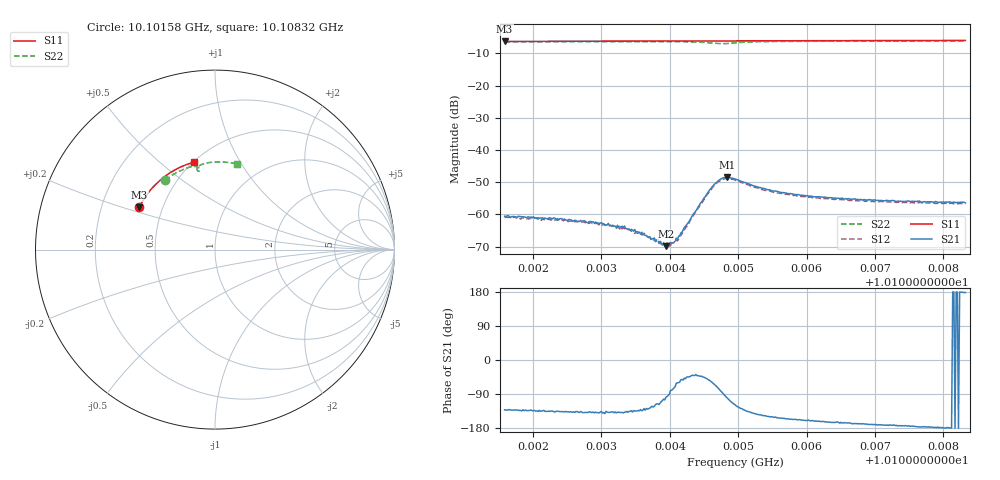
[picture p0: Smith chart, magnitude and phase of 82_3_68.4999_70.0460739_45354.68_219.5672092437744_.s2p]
#  HZ  S  RI  R  50.00
! Rohde & Schwarz Vector Network Analyzer
! Rohde-Schwarz,ZNB20-2Port,1311601062101988,3.16
! Created: UTC 3/20/2024, 5:07:21 PM
! freq[Hz]  re:S11  im:S11  re:S21  im:S21  re:S12  im:S12  re:S22  im:S22
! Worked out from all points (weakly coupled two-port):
!   401 points, 10.10158 GHz to 10.10832 GHz, reference 50 ohm
!   highest |S21| = -48.48 dB at 10.10483 GHz (marker M1); lowest = -69.8 dB at 10.10394 GHz (marker M2)
!   lowest |S11| = -6.3 dB at 10.10158 GHz (marker M3), VSWR 2.87, Z = 18.4 + j11.3 ohm
!   |S11| at or under -10 dB: nowhere
!   |S22| runs from -7.0 to -6.1 dB; largest |S21 - S12| = 0.0004
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1.0101584e10  -0.4224 0.2355  -0.000622 -0.000701  -0.000541 -0.000718  -0.2775 0.3867
1.0102055e10  -0.409 0.2609  -0.0006 -0.000618  -0.000569 -0.000669  -0.2526 0.405
1.0102712e10  -0.3877 0.2948  -0.00058 -0.00053  -0.000532 -0.000553  -0.216 0.4277
1.0103352e10  -0.3645 0.3261  -0.000449 -0.00041  -0.000387 -0.000444  -0.1777 0.4464
1.0103487e10  -0.3594 0.3323  -0.000414 -0.000413  -0.000319 -0.000396  -0.1691 0.4501
1.0103639e10  -0.3534 0.3393  -0.000321 -0.000351  -0.000286 -0.000394  -0.1592 0.4536
1.0103841e10  -0.3451 0.3484  -0.000164 -0.000314  -0.00013 -0.000363  -0.1453 0.4581
1.0103908e10  -0.3423 0.3514  -8.46e-05 -0.000357  -4.56e-05 -0.000331  -0.1403 0.4594
1.0103942e10  -0.3409 0.3529  -4.63e-05 -0.000319  -1.87e-05 -0.000349  -0.138 0.46
1.0104026e10  -0.3374 0.3565  6.28e-05 -0.000355  9.95e-05 -0.000345  -0.1317 0.4615
1.0104077e10  -0.3351 0.3588  0.00013 -0.00037  0.000173 -0.00035  -0.1279 0.4621
1.0104127e10  -0.3332 0.361  0.00023 -0.000395  0.000244 -0.000332  -0.1237 0.4626
1.0104431e10  -0.3199 0.3736  0.00102 -0.000933  0.00105 -0.000799  -0.0974 0.4605
1.0104616e10  -0.3115 0.3813  0.00138 -0.00226  0.00152 -0.00204  -0.0849 0.4476
1.0104734e10  -0.3062 0.3858  0.000636 -0.00344  0.000892 -0.00322  -0.0883 0.4378
1.0104835e10  -0.3016 0.3898  -0.000626 -0.00372  -0.000303 -0.00357  -0.0968 0.4386
1.0104953e10  -0.2962 0.3944  -0.00166 -0.00314  -0.00136 -0.00314  -0.1003 0.4488
1.0105374e10  -0.2761 0.41  -0.00213 -0.00139  -0.00189 -0.00148  -0.0748 0.4738
1.0105644e10  -0.2628 0.4196  -0.00197 -0.000981  -0.0018 -0.0011  -0.0553 0.4803
1.0106082e10  -0.2405 0.434  -0.00179 -0.000668  -0.00164 -0.000772  -0.0251 0.4857
1.010721e10  -0.1798 0.4651  -0.0016 -0.00025  -0.00152 -0.000353  0.0495 0.4877
1.0108322e10  -0.1162 0.4871  -0.00151 4.99e-05  -0.00148 -0.000109  0.1203 0.4779
